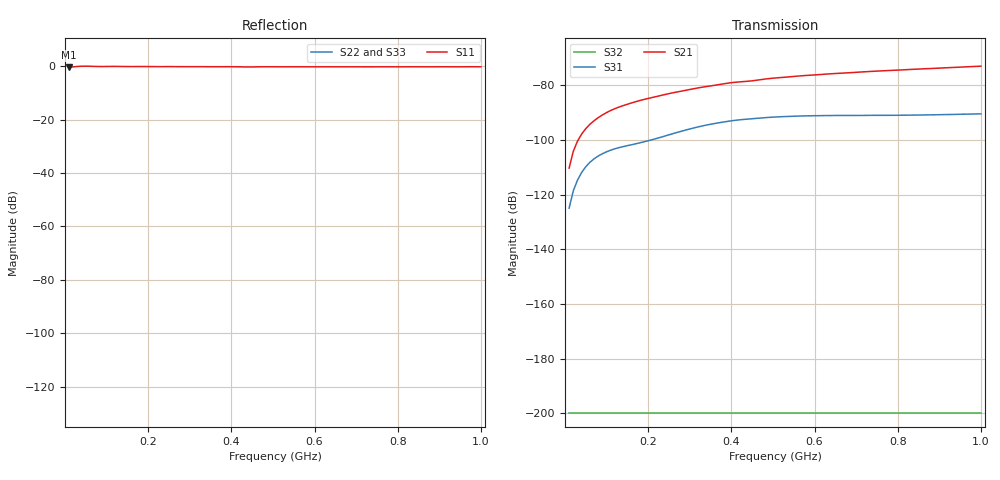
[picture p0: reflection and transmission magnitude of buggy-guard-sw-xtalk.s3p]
! agentee buggy-guard-sw-xtalk
! ports SW SCL VBAT_ADC
# Hz S RI R 50
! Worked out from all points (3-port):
!   100 points, 10 MHz to 1 GHz, reference 50 ohm
!   strongest paths, dB at 10 MHz, 260 MHz, 510 MHz, 760 MHz, 1 GHz:
!     S21: -110.3, -82.7, -77.2, -74.7, -73.0
!     S31: -124.9, -97.6, -91.5, -90.9, -90.4
!     S32: -, -, -, -, -
!   lowest |S11| = -0.3 dB at 10 MHz (marker M1), VSWR 52.20, Z = 2.08e+03 - j1.05e+03 ohm
!   |S11| at or under -10 dB: nowhere
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1e7  0.9622 -0.0186  0 0  0 0
     1.68e-07 3.06e-06  0 0  0 0
     -4.21e-09 5.67e-07  0 0  0 0
5e7  0.9893 -0.1743  0 0  0 0
     2.24e-06 1.6e-05  0 0  0 0
     1.36e-07 3.25e-06  0 0  0 0
1.1e8  0.9174 -0.3816  0 0  0 0
       1.2e-05 3.26e-05  0 0  0 0
       1.62e-06 6.33e-06  0 0  0 0
1.9e8  0.7731 -0.6166  0 0  0 0
       2.95e-05 4.69e-05  0 0  0 0
       2.17e-06 9.04e-06  0 0  0 0
2.6e8  0.6134 -0.7708  0 0  0 0
       4.73e-05 5.62e-05  0 0  0 0
       2.11e-06 1.3e-05  0 0  0 0
3.6e8  0.3638 -0.9098  0 0  0 0
       7.98e-05 6.12e-05  0 0  0 0
       5.23e-06 1.94e-05  0 0  0 0
3.9e8  0.2889 -0.938  0 0  0 0
       9.14e-05 6.02e-05  0 0  0 0
       6.8e-06 2.09e-05  0 0  0 0
5.1e8  0.0102 -0.9779  0 0  0 0
       0.000131 4.2e-05  0 0  0 0
       1.3e-05 2.31e-05  0 0  0 0
7.2e8  -0.3769 -0.9001  0 0  0 0
       0.000177 -1.81e-05  0 0  0 0
       1.76e-05 2.22e-05  0 0  0 0
1e9  -0.6983 -0.6846  0 0  0 0
     0.000195 -0.000112  0 0  0 0
     1.81e-05 2.42e-05  0 0  0 0
